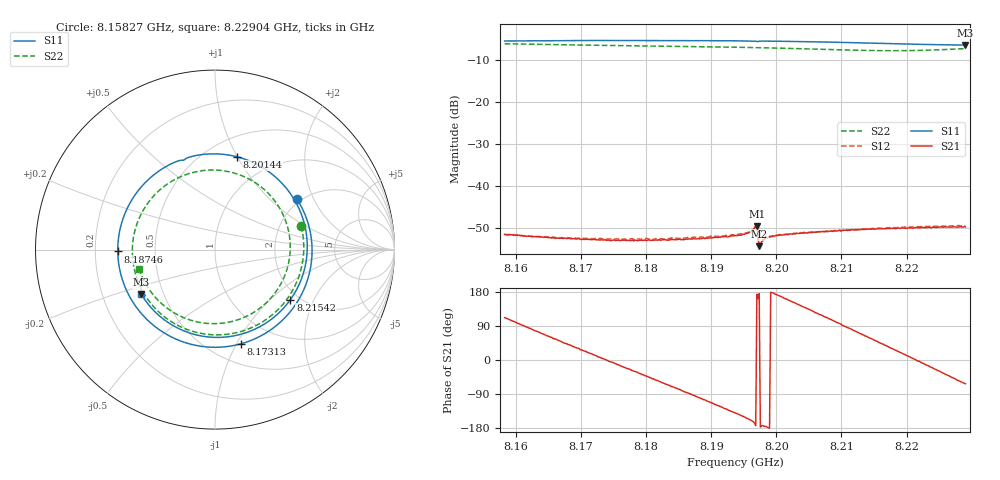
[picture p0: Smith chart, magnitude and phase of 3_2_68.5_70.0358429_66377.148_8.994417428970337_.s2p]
#  HZ  S  RI  R  50.00
! Rohde & Schwarz Vector Network Analyzer
! Rohde-Schwarz,ZNB20-2Port,1311601062101988,3.16
! Created: UTC 3/20/2024, 5:03:51 PM
! freq[Hz]  re:S11  im:S11  re:S21  im:S21  re:S12  im:S12  re:S22  im:S22
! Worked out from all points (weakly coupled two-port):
!   401 points, 8.15827 GHz to 8.22904 GHz, reference 50 ohm
!   highest |S21| = -49.54 dB at 8.19701 GHz (marker M1); lowest = -54.4 dB at 8.19737 GHz (marker M2)
!   lowest |S11| = -6.4 dB at 8.22904 GHz (marker M3), VSWR 2.85, Z = 18.8 - j12.1 ohm
!   |S11| at or under -10 dB: nowhere
!   |S22| runs from -7.7 to -6.1 dB; largest |S21 - S12| = 0.00022
!   S11 on the Smith chart (normalised r, x): 8.15827 GHz: 1.91, +1.50; 8.17313 GHz: 0.70, -1.04; 8.18746 GHz: 0.30, -0.01; 8.20144 GHz: 0.69, +1.00; 8.21542 GHz: 1.80, -1.35; 8.22904 GHz: 0.38, -0.24
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8.158266e9  0.4575 0.2804  -0.000974 0.00246  -0.001 0.00243  0.4801 0.1313
8.164105e9  0.5333 -0.0956  0.000874 0.0023  0.000887 0.00234  0.4408 -0.2114
8.17012e9  0.3275 -0.4345  0.00207 0.00102  0.00212 0.00105  0.1843 -0.4428
8.173128e9  0.1452 -0.5247  0.00228 0.000189  0.00233 0.000247  0.015 -0.4753
8.177375e9  -0.1422 -0.5252  0.00205 -0.000903  0.00213 -0.000936  -0.2171 -0.417
8.181975e9  -0.4078 -0.3592  0.00127 -0.0019  0.00127 -0.00198  -0.3997 -0.2383
8.18746e9  -0.5419 -0.00999  -0.000177 -0.00232  -0.00025 -0.00244  -0.4562 0.0568
8.190468e9  -0.504 0.1957  -0.00107 -0.00217  -0.00115 -0.00221  -0.4028 0.2143
8.193653e9  -0.3812 0.3808  -0.00194 -0.00168  -0.00208 -0.00168  -0.2881 0.3485
8.196661e9  -0.2019 0.4951  -0.00304 -0.000716  -0.00313 -0.000617  -0.1388 0.4255
8.197014e9  -0.177 0.4979  -0.00331 0.000379  -0.00335 0.000543  -0.1196 0.4304
8.197368e9  -0.1621 0.5071  -0.00191 0.000162  -0.00196 0.000203  -0.1004 0.4349
8.197722e9  -0.1372 0.5167  -0.00214 -0.000235  -0.0022 -0.000139  -0.0805 0.4385
8.201438e9  0.1243 0.5166  -0.0025 0.000834  -0.00249 0.000937  0.1281 0.4197
8.205507e9  0.37 0.3729  -0.00178 0.00214  -0.00173 0.00226  0.32 0.2876
8.210638e9  0.5134 0.0448  0.000103 0.00296  0.00012 0.00298  0.4193 0.00436
8.215416e9  0.4202 -0.2789  0.00199 0.00234  0.0021 0.00233  0.3138 -0.2673
8.217362e9  0.3239 -0.3807  0.00259 0.00171  0.00271 0.00169  0.219 -0.3478
8.220193e9  0.1419 -0.4724  0.00309 0.000574  0.0032 0.000496  0.0455 -0.4096
8.223024e9  -0.0613 -0.4838  0.0031 -0.000699  0.00318 -0.000853  -0.1419 -0.3913
8.225678e9  -0.2409 -0.4191  0.00264 -0.00184  0.00264 -0.00203  -0.2977 -0.3009
8.22904e9  -0.4105 -0.2487  0.00149 -0.00288  0.00138 -0.00306  -0.4227 -0.1065
